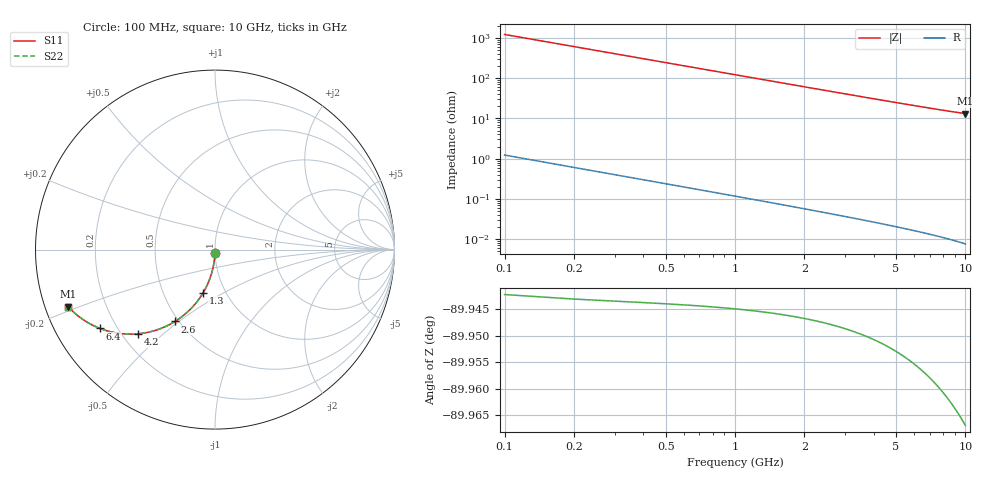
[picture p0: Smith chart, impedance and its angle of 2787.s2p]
# Hz S RI R 50.00
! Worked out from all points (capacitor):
!   100 points, 100 MHz to 10 GHz, reference 50 ohm
!   read as one part in shunt: C = 1.3 pF near 100 MHz
!   lowest |Z| = 13.2 ohm at 10 GHz (marker M1)
!   S11 on the Smith chart (normalised r, x): 100 MHz: 1.00, -0.04; 1.3 GHz: 0.78, -0.40; 2.6 GHz: 0.48, -0.48; 4.2 GHz: 0.26, -0.41; 6.4 GHz: 0.14, -0.30; 10 GHz: 0.07, -0.19
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1e8  -0.00025 -0.0199  0.9994 -0.0211  0.9994 -0.0211  -0.00025 -0.0199
2e8  -0.00152 -0.0397  0.9981 -0.0421  0.9981 -0.0421  -0.00152 -0.0397
3e8  -0.00363 -0.0594  0.996 -0.063  0.996 -0.063  -0.00363 -0.0594
4e8  -0.00656 -0.079  0.993 -0.0838  0.993 -0.0838  -0.00656 -0.079
5e8  -0.0103 -0.0984  0.9893 -0.1044  0.9893 -0.1044  -0.0103 -0.0984
6e8  -0.0148 -0.1175  0.9848 -0.1247  0.9848 -0.1247  -0.0148 -0.1175
7e8  -0.0201 -0.1364  0.9795 -0.1448  0.9795 -0.1448  -0.0201 -0.1364
8e8  -0.0261 -0.1549  0.9734 -0.1645  0.9734 -0.1645  -0.0261 -0.1549
1e9  -0.0403 -0.1907  0.9592 -0.2028  0.9592 -0.2028  -0.0403 -0.1907
1.3e9  -0.0664 -0.2411  0.9331 -0.2567  0.9331 -0.2567  -0.0664 -0.2411
1.5e9  -0.0866 -0.2721  0.9129 -0.2901  0.9129 -0.2901  -0.0866 -0.2721
1.8e9  -0.1202 -0.3142  0.8792 -0.3359  0.8792 -0.3359  -0.1202 -0.3142
2.2e9  -0.1698 -0.362  0.8295 -0.3885  0.8295 -0.3885  -0.1698 -0.362
2.6e9  -0.2225 -0.4  0.7766 -0.4314  0.7766 -0.4314  -0.2225 -0.4
3.4e9  -0.3296 -0.4492  0.6691 -0.4904  0.6691 -0.4904  -0.3296 -0.4492
4.2e9  -0.43 -0.4691  0.5682 -0.5202  0.5682 -0.5202  -0.43 -0.4691
5.1e9  -0.5285 -0.4674  0.4692 -0.5298  0.4692 -0.5298  -0.5285 -0.4674
6.4e9  -0.6411 -0.4391  0.3553 -0.5181  0.3553 -0.5181  -0.6411 -0.4391
6.7e9  -0.6626 -0.4302  0.3336 -0.513  0.3336 -0.513  -0.6626 -0.4302
7.5e9  -0.7127 -0.4041  0.2825 -0.4975  0.2825 -0.4975  -0.7127 -0.4041
8.4e9  -0.7585 -0.3729  0.2355 -0.4783  0.2355 -0.4783  -0.7585 -0.3729
1e10  -0.8189 -0.3172  0.1724 -0.4446  0.1724 -0.4446  -0.8189 -0.3172
